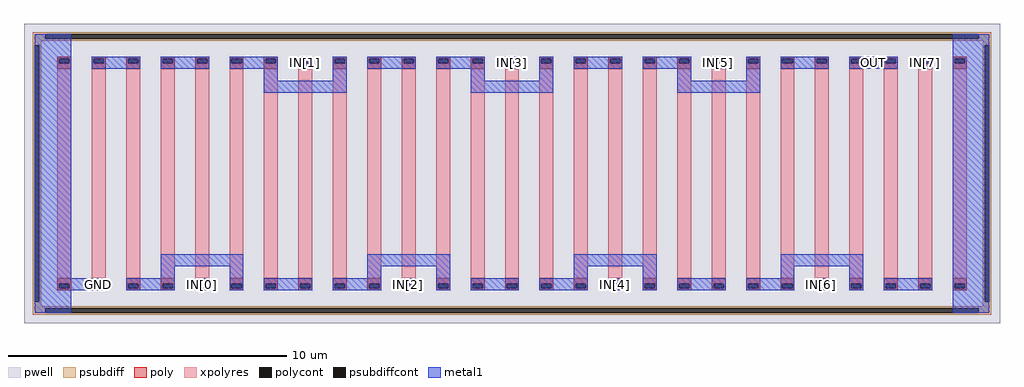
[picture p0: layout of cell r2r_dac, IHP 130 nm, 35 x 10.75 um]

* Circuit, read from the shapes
.subckt r2r_dac GND IN[0] IN[1] IN[2] IN[3] IN[4] IN[5] IN[6] IN[7] OUT
XR1 GND GND xpolyres w=0.5u l=7.5u m=2
XR2 n1 GND xpolyres w=0.5u l=7.5u
XR3 n1 n2 xpolyres w=0.5u l=7.5u
XR4 n3 n2 xpolyres w=0.5u l=7.5u
XR5 n3 IN[0] xpolyres w=0.5u l=7.5u
XR6 n4 n2 xpolyres w=0.5u l=7.5u
XR7 n4 n5 xpolyres w=0.5u l=7.5u
XR8 IN[1] n5 xpolyres w=0.5u l=7.5u
XR9 n4 n6 xpolyres w=0.5u l=7.5u
XR10 n7 n6 xpolyres w=0.5u l=7.5u
XR11 n7 IN[2] xpolyres w=0.5u l=7.5u
XR12 n8 n6 xpolyres w=0.5u l=7.5u
XR13 n8 n9 xpolyres w=0.5u l=7.5u
XR14 IN[3] n9 xpolyres w=0.5u l=7.5u
XR15 n8 n10 xpolyres w=0.5u l=7.5u
XR16 n11 n10 xpolyres w=0.5u l=7.5u
XR17 n11 IN[4] xpolyres w=0.5u l=7.5u
XR18 n12 n10 xpolyres w=0.5u l=7.5u
XR19 n12 n13 xpolyres w=0.5u l=7.5u
XR20 IN[5] n13 xpolyres w=0.5u l=7.5u
XR21 n12 n14 xpolyres w=0.5u l=7.5u
XR22 n15 n14 xpolyres w=0.5u l=7.5u
XR23 n15 IN[6] xpolyres w=0.5u l=7.5u
XR24 OUT n14 xpolyres w=0.5u l=7.5u
XR25 OUT n16 xpolyres w=0.5u l=7.5u
XR26 IN[7] n16 xpolyres w=0.5u l=7.5u
.ends

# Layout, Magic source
magic
tech ihp-sg13g2
magscale 1 2
<< metal1 >>
rect -48 197 215 1946
rect 362 1697 709 1783
rect 856 1697 1203 1784
rect 1350 1697 1697 1783
rect 1844 1697 1944 1783
rect 1597 1611 1697 1697
rect 2091 1611 2191 1783
rect 2338 1697 2685 1784
rect 2832 1697 3179 1783
rect 3326 1697 3426 1783
rect 1597 1525 2191 1611
rect 3079 1611 3179 1697
rect 3573 1611 3673 1783
rect 3820 1697 4167 1784
rect 4314 1697 4661 1783
rect 4808 1697 4908 1783
rect 3079 1525 3673 1611
rect 4561 1611 4661 1697
rect 5055 1611 5155 1783
rect 5302 1697 5649 1784
rect 5796 1697 6143 1783
rect 6290 1697 6390 1783
rect 4561 1525 5155 1611
rect 856 283 1450 369
rect 856 197 956 283
rect -48 111 462 197
rect 609 111 956 197
rect 1103 111 1203 197
rect 1350 111 1450 283
rect 2338 283 2932 369
rect 2338 197 2438 283
rect 1597 111 1944 197
rect 2091 111 2438 197
rect 2585 111 2685 197
rect 2832 111 2932 283
rect 3820 283 4414 369
rect 3820 197 3920 283
rect 3079 111 3426 197
rect 3573 111 3920 197
rect 4067 111 4167 197
rect 4314 111 4414 283
rect 5302 283 5896 369
rect 5302 197 5402 283
rect 4561 111 4908 197
rect 5055 111 5402 197
rect 5549 111 5649 197
rect 5796 111 5896 283
rect 6043 111 6390 197
rect -48 -52 215 111
rect 6537 -52 6800 1946
use resistors  resistors_0
transform 1 0 2713 0 1 931
box -2837 -1059 4163 1091
<< labels >>
flabel metal1 362 111 462 197 0 FreeSans 256 0 0 0 GND
port 1 nsew ground bidirectional
flabel metal1 1103 111 1203 197 0 FreeSans 256 0 0 0 IN[0]
port 2 nsew signal input
flabel metal1 1844 1697 1944 1783 0 FreeSans 256 0 0 0 IN[1]
port 3 nsew signal input
flabel metal1 2585 111 2685 197 0 FreeSans 256 0 0 0 IN[2]
port 4 nsew signal input
flabel metal1 3326 1697 3426 1783 0 FreeSans 256 0 0 0 IN[3]
port 5 nsew signal input
flabel metal1 4067 111 4167 197 0 FreeSans 256 0 0 0 IN[4]
port 6 nsew signal input
flabel metal1 4808 1697 4908 1783 0 FreeSans 256 0 0 0 IN[5]
port 7 nsew signal input
flabel metal1 5549 111 5649 197 0 FreeSans 256 0 0 0 IN[6]
port 8 nsew signal input
flabel metal1 5796 1697 6143 1783 0 FreeSans 256 0 0 0 OUT
port 10 nsew signal output
flabel metal1 6290 1697 6390 1783 0 FreeSans 256 0 0 0 IN[7]
port 9 nsew signal input
<< end >>

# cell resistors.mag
magic
tech ihp-sg13g2
magscale 1 2
<< pwell >>
rect -2837 -1059 4163 1091
<< psubdiff >>
rect -2775 1015 4101 1029
rect -2775 983 -2683 1015
rect 4009 983 4101 1015
rect -2775 969 4101 983
rect -2775 937 -2715 969
rect -2775 -905 -2761 937
rect -2729 -905 -2715 937
rect -2775 -937 -2715 -905
rect 4041 937 4101 969
rect 4041 -905 4055 937
rect 4087 -905 4101 937
rect 4041 -937 4101 -905
rect -2775 -951 4101 -937
rect -2775 -983 -2683 -951
rect 4009 -983 4101 -951
rect -2775 -997 4101 -983
<< psubdiffcont >>
rect -2683 983 4009 1015
rect -2761 -905 -2729 937
rect 4055 -905 4087 937
rect -2683 -983 4009 -951
<< metal1 >>
rect -2761 983 -2683 1015
rect 4009 983 4087 1015
rect -2761 937 -2729 983
rect -2761 -951 -2729 -905
rect 4055 937 4087 983
rect 4055 -951 4087 -905
rect -2761 -983 -2683 -951
rect 4009 -983 4087 -951
use rhigh  rhigh_0
transform 1 0 -2598 0 1 -734
box 0 -86 100 1586
use rhigh  rhigh_1
transform 1 0 -2351 0 1 -734
box 0 -86 100 1586
use rhigh  rhigh_2
transform 1 0 -2104 0 1 -734
box 0 -86 100 1586
use rhigh  rhigh_3
transform 1 0 -1857 0 1 -734
box 0 -86 100 1586
use rhigh  rhigh_4
transform 1 0 -1610 0 1 -734
box 0 -86 100 1586
use rhigh  rhigh_5
transform 1 0 -1363 0 1 -734
box 0 -86 100 1586
use rhigh  rhigh_6
transform 1 0 -1116 0 1 -734
box 0 -86 100 1586
use rhigh  rhigh_7
transform 1 0 -869 0 1 -734
box 0 -86 100 1586
use rhigh  rhigh_8
transform 1 0 -622 0 1 -734
box 0 -86 100 1586
use rhigh  rhigh_9
transform 1 0 -375 0 1 -734
box 0 -86 100 1586
use rhigh  rhigh_10
transform 1 0 -128 0 1 -734
box 0 -86 100 1586
use rhigh  rhigh_11
transform 1 0 119 0 1 -734
box 0 -86 100 1586
use rhigh  rhigh_12
transform 1 0 366 0 1 -734
box 0 -86 100 1586
use rhigh  rhigh_13
transform 1 0 613 0 1 -734
box 0 -86 100 1586
use rhigh  rhigh_14
transform 1 0 860 0 1 -734
box 0 -86 100 1586
use rhigh  rhigh_15
transform 1 0 1107 0 1 -734
box 0 -86 100 1586
use rhigh  rhigh_16
transform 1 0 1354 0 1 -734
box 0 -86 100 1586
use rhigh  rhigh_17
transform 1 0 1601 0 1 -734
box 0 -86 100 1586
use rhigh  rhigh_18
transform 1 0 1848 0 1 -734
box 0 -86 100 1586
use rhigh  rhigh_19
transform 1 0 2095 0 1 -734
box 0 -86 100 1586
use rhigh  rhigh_20
transform 1 0 2342 0 1 -734
box 0 -86 100 1586
use rhigh  rhigh_21
transform 1 0 2589 0 1 -734
box 0 -86 100 1586
use rhigh  rhigh_22
transform 1 0 2836 0 1 -734
box 0 -86 100 1586
use rhigh  rhigh_23
transform 1 0 3083 0 1 -734
box 0 -86 100 1586
use rhigh  rhigh_24
transform 1 0 3330 0 1 -734
box 0 -86 100 1586
use rhigh  rhigh_25
transform 1 0 3577 0 1 -734
box 0 -86 100 1586
use rhigh  rhigh_26
transform 1 0 3824 0 1 -734
box 0 -86 100 1586
<< labels >>
rlabel psubdiffcont 663 -967 663 -967 0 B
port 1 nsew
<< end >>

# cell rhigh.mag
magic
tech ihp-sg13g2
<< poly >>
rect 0 786 50 793
rect 0 770 7 786
rect 43 770 50 786
rect 0 750 50 770
rect 0 -20 50 0
rect 0 -36 7 -20
rect 43 -36 50 -20
rect 0 -43 50 -36
<< polycont >>
rect 7 770 43 786
rect 7 -36 43 -20
<< xpolyres >>
rect 0 0 50 750
<< metal1 >>
rect 2 786 48 791
rect 2 770 7 786
rect 43 770 48 786
rect 2 765 48 770
rect 2 -20 48 -15
rect 2 -36 7 -20
rect 43 -36 48 -20
rect 2 -41 48 -36
<< labels >>
flabel comment s 25 375 25 375 0 FreeSans 100 90 0 0 rpnd r=22493.913
<< properties >>
string GDS_END 1666
string GDS_FILE rhigh.gds
string GDS_START 100
<< end >>
